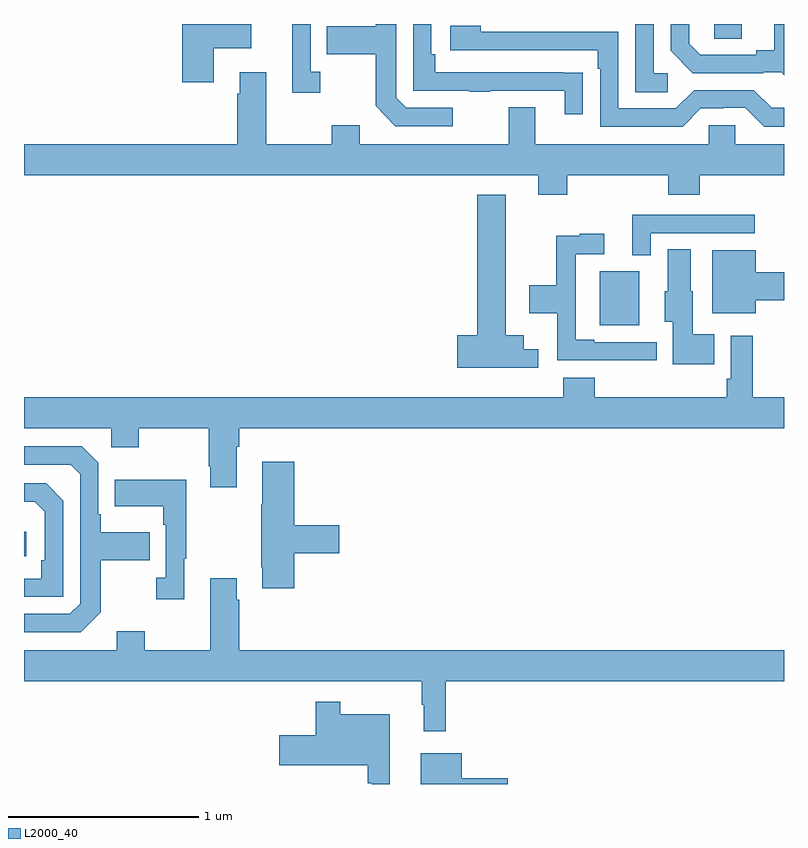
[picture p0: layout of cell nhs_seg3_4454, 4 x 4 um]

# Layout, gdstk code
import gdstk
lib = gdstk.Library(unit=1e-6, precision=1e-09)
def R(c, l, rs):  # rectangles x0, y0, x1, y1
    for r in rs: c.add(gdstk.rectangle(r[:2], r[2:], *l))
def P(c, l, *ps):  # polygons
    for p in ps: c.add(gdstk.Polygon(p, *l))
L2000_40 = (2000, 40)

nhs_seg3_4454 = lib.new_cell('nhs_seg3_4454')
R(nhs_seg3_4454, L2000_40, [(349,677.598,349.012,677.728), (352.031,678.815,352.237,679.099), (352.632,680.323,352.777,680.4)])
P(nhs_seg3_4454, L2000_40, [(351.941,680.144),(351.839,680.144),(351.839,680.145),(351.164,680.145),(351.164,680.242),(351.144,680.242),(351.144,680.4),(351.048,680.4),(351.048,680.049),(351.343,680.049),(351.343,680.044),(351.455,680.044),(351.455,680.049),(351.845,680.049),(351.845,679.926),(351.941,679.926)],
  [(351.256,679.959),(351.012,679.959),(350.958,680.013),(350.958,680.4),(350.85,680.4),(350.85,680.389),(350.593,680.389),(350.593,680.242),(350.85,680.242),(350.85,679.969),(350.955,679.863),(351.256,679.863)],
  [(349.999,680.273),(350.197,680.273),(350.197,680.4),(349.832,680.4),(349.832,680.094),(349.999,680.094)],
  [(352.387,680.142),(352.314,680.142),(352.314,680.4),(352.218,680.4),(352.218,680.041),(352.387,680.041)],
  [(350.56,680.15),(350.508,680.15),(350.508,680.4),(350.411,680.4),(350.411,680.037),(350.56,680.037)],
  [(353,680.4),(352.949,680.4),(352.949,680.261),(352.853,680.261),(352.853,680.238),(352.558,680.238),(352.501,680.295),(352.501,680.4),(352.404,680.4),(352.404,680.258),(352.52,680.142),(352.892,680.142),(352.892,680.145),(352.986,680.145),(353,680.131)],
  [(353,679.959),(352.935,679.959),(352.842,680.052),(352.527,680.052),(352.431,679.956),(352.128,679.956),(352.128,680.358),(351.404,680.358),(351.404,680.392),(351.243,680.392),(351.243,680.262),(352.019,680.262),(352.019,680.165),(352.032,680.165),(352.032,679.86),(352.467,679.86),(352.563,679.956),(352.682,679.956),(352.682,679.959),(352.797,679.959),(352.897,679.859),(353,679.859)],
  [(351.86,679.604),(352.391,679.604),(352.391,679.502),(352.556,679.502),(352.556,679.604),(353,679.604),(353,679.768),(352.743,679.768),(352.743,679.866),(352.605,679.866),(352.605,679.768),(351.691,679.768),(351.691,679.963),(351.551,679.963),(351.551,679.768),(350.767,679.768),(350.767,679.867),(350.62,679.867),(350.62,679.768),(350.275,679.768),(350.275,680.146),(350.135,680.146),(350.135,680.033),(350.123,680.033),(350.123,679.768),(349,679.768),(349,679.604),(351.707,679.604),(351.707,679.502),(351.86,679.502)],
  [(351.706,678.689),(351.631,678.689),(351.631,678.761),(351.535,678.761),(351.535,679.501),(351.386,679.501),(351.386,678.761),(351.279,678.761),(351.279,678.59),(351.706,678.59)],
  [(352.299,679.299),(352.846,679.299),(352.846,679.395),(352.202,679.395),(352.202,679.184),(352.299,679.184)],
  [(352.33,678.726),(352,678.726),(352,678.739),(351.903,678.739),(351.903,679.188),(352.054,679.188),(352.054,679.297),(351.926,679.297),(351.926,679.286),(351.802,679.286),(351.802,679.026),(351.66,679.026),(351.66,678.878),(351.806,678.878),(351.806,678.63),(352.087,678.63),(352.087,678.629),(352.33,678.629)],
  [(352.634,678.766),(352.519,678.766),(352.519,678.993),(352.51,678.993),(352.51,679.214),(352.388,679.214),(352.388,678.993),(352.373,678.993),(352.373,678.834),(352.415,678.834),(352.415,678.608),(352.634,678.608)],
  [(352.852,678.947),(353,678.947),(353,679.094),(352.852,679.094),(352.852,679.21),(352.622,679.21),(352.622,678.878),(352.852,678.878)],
  [(350.119,678.176),(350.132,678.176),(350.132,678.272),(353,678.272),(353,678.436),(352.835,678.436),(352.835,678.76),(352.719,678.76),(352.719,678.532),(352.699,678.532),(352.699,678.436),(352.004,678.436),(352.004,678.538),(351.839,678.538),(351.839,678.436),(349,678.436),(349,678.272),(349.458,678.272),(349.458,678.173),(349.605,678.173),(349.605,678.272),(349.972,678.272),(349.972,678.073),(349.979,678.073),(349.979,677.961),(350.119,677.961)],
  [(349.405,677.305),(349.405,677.578),(349.661,677.578),(349.661,677.725),(349.405,677.725),(349.405,677.821),(349.392,677.821),(349.392,678.09),(349.305,678.177),(349,678.177),(349,678.081),(349.245,678.081),(349.296,678.03),(349.296,677.349),(349.242,677.295),(349,677.295),(349,677.199),(349.299,677.199)],
  [(350.423,677.615),(350.659,677.615),(350.659,677.762),(350.423,677.762),(350.423,678.097),(350.255,678.097),(350.255,677.873),(350.248,677.873),(350.248,677.542),(350.255,677.542),(350.255,677.43),(350.423,677.43)],
  [(349.843,677.585),(349.855,677.585),(349.855,678.001),(349.477,678.001),(349.477,677.861),(349.734,677.861),(349.734,677.765),(349.746,677.765),(349.746,677.486),(349.695,677.486),(349.695,677.373),(349.843,677.373)],
  [(349.206,677.892),(349.116,677.982),(349,677.982),(349,677.885),(349.057,677.885),(349.11,677.832),(349.11,677.578),(349.09,677.578),(349.09,677.481),(349,677.481),(349,677.385),(349.206,677.385)],
  [(351.221,676.94),(353,676.94),(353,677.104),(350.132,677.104),(350.132,677.369),(350.119,677.369),(350.119,677.482),(349.979,677.482),(349.979,677.104),(349.635,677.104),(349.635,677.203),(349.487,677.203),(349.487,677.104),(349,677.104),(349,676.94),(351.093,676.94),(351.093,676.817),(351.104,676.817),(351.104,676.677),(351.221,676.677)],
  [(350.926,676.768),(350.665,676.768),(350.665,676.834),(350.536,676.834),(350.536,676.657),(350.343,676.657),(350.343,676.499),(350.809,676.499),(350.809,676.403),(350.829,676.403),(350.829,676.4),(350.926,676.4)],
  [(351.547,676.43),(351.304,676.43),(351.304,676.561),(351.089,676.561),(351.089,676.4),(351.547,676.4)])

lib.write_gds('nhs_seg3_4454.gds')
